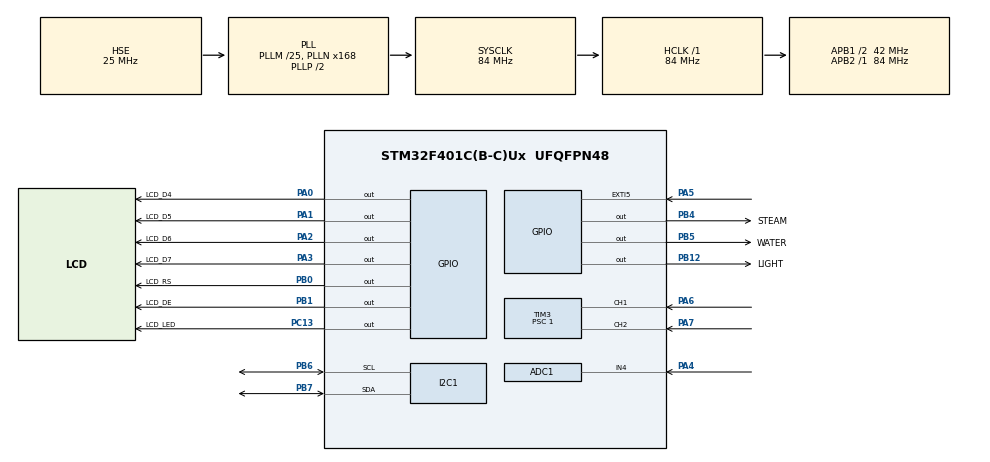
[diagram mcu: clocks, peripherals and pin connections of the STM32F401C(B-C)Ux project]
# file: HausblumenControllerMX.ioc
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ADC1.Channel-0\#ChannelRegularConversion=ADC_CHANNEL_4
ADC1.NbrOfConversionFlag=1
ADC1.Rank-0\#ChannelRegularConversion=1
ADC1.SamplingTime-0\#ChannelRegularConversion=ADC_SAMPLETIME_3CYCLES
ADC1.master=1
Mcu.Family=STM32F4
Mcu.Name=STM32F401C(B-C)Ux
Mcu.Package=UFQFPN48
NVIC.EXTI9_5_IRQn=true\:0\:0\:false\:false\:false\:true\:true
NVIC.PriorityGroup=NVIC_PRIORITYGROUP_4
PA0-WKUP.GPIO_Label=LCD_D4
PA0-WKUP.Signal=GPIO_Output
PA1.GPIO_Label=LCD_D5
PA1.Signal=GPIO_Output
PA13.Mode=Serial_Wire
PA13.Signal=SYS_JTMS-SWDIO
PA14.Mode=Serial_Wire
PA14.Signal=SYS_JTCK-SWCLK
PA2.GPIO_Label=LCD_D6
PA2.Signal=GPIO_Output
PA3.GPIO_Label=LCD_D7
PA3.Signal=GPIO_Output
PA4.Signal=ADCx_IN4
PA5.Signal=GPXTI5
PA6.Signal=S_TIM3_CH1
PA7.Signal=S_TIM3_CH2
PB0.GPIO_Label=LCD_RS
PB0.Signal=GPIO_Output
PB1.GPIO_Label=LCD_DE
PB1.Signal=GPIO_Output
PB12.GPIO_Label=LIGHT
PB12.Signal=GPIO_Output
PB3.Signal=SYS_JTDO-SWO
PB4.GPIO_Label=STEAM
PB4.Signal=GPIO_Output
PB5.GPIO_Label=WATER
PB5.Signal=GPIO_Output
PB6.Mode=I2C
PB6.Signal=I2C1_SCL
PB7.Mode=I2C
PB7.Signal=I2C1_SDA
PC13-ANTI_TAMP.GPIO_Label=LCD_LED
PC13-ANTI_TAMP.Signal=GPIO_Output
PC14-OSC32_IN.Mode=LSE-External-Oscillator
PC14-OSC32_IN.Signal=RCC_OSC32_IN
PC15-OSC32_OUT.Mode=LSE-External-Oscillator
PC15-OSC32_OUT.Signal=RCC_OSC32_OUT
PH0\ -\ OSC_IN.Mode=HSE-External-Oscillator
PH0\ -\ OSC_IN.Signal=RCC_OSC_IN
PH1\ -\ OSC_OUT.Mode=HSE-External-Oscillator
PH1\ -\ OSC_OUT.Signal=RCC_OSC_OUT
ProjectManager.HeapSize=0x200
ProjectManager.StackSize=0x400
ProjectManager.TargetToolchain=Makefile
RCC.48MHZClocksFreq_Value=42000000
RCC.AHBFreq_Value=84000000
RCC.APB1CLKDivider=RCC_HCLK_DIV2
RCC.APB1Freq_Value=42000000
RCC.APB1TimFreq_Value=84000000
RCC.APB2Freq_Value=84000000
RCC.APB2TimFreq_Value=84000000
RCC.CortexFreq_Value=84000000
RCC.HCLKFreq_Value=84000000
RCC.HSE_VALUE=25000000
RCC.HSI_VALUE=16000000
RCC.PLLM=25
RCC.PLLN=168
RCC.PLLSourceVirtual=RCC_PLLSOURCE_HSE
RCC.RCC_RTC_Clock_Source=RCC_RTCCLKSOURCE_LSE
RCC.RCC_RTC_Clock_SourceVirtual=RCC_RTCCLKSOURCE_LSE
RCC.SYSCLKFreq_VALUE=84000000
RCC.SYSCLKSource=RCC_SYSCLKSOURCE_PLLCLK
RCC.VCOOutputFreq_Value=168000000
RTC.Date=15
RTC.Month=RTC_MONTH_OCTOBER
RTC.WeekDay=RTC_WEEKDAY_WEDNESDAY
SH.ADCx_IN4.0=ADC1_IN4,IN4
SH.S_TIM3_CH1.0=TIM3_CH1,Encoder_Interface
SH.S_TIM3_CH2.0=TIM3_CH2,Encoder_Interface
TIM3.ClockDivision=TIM_CLOCKDIVISION_DIV4
TIM3.EncoderMode=TIM_ENCODERMODE_TI12
TIM3.IC1Filter=15
TIM3.IC1Polarity=TIM_ICPOLARITY_FALLING
TIM3.IC2Filter=15
TIM3.IC2Polarity=TIM_ICPOLARITY_FALLING
TIM3.Period=256
TIM3.Prescaler=1
TIM3.TIM_MasterOutputTrigger=TIM_TRGO_ENABLE
VP_RTC_VS_RTC_Activate.Mode=RTC_Enabled
VP_RTC_VS_RTC_Calendar.Mode=RTC_Calendar
board=custom

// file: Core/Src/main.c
/* USER CODE BEGIN Header */
/**
  ******************************************************************************
  * @file           : main.c
  * @brief          : Main program body
  ******************************************************************************
  * @attention
  *
  * <h2><center>&copy; Copyright (c) 2025 STMicroelectronics.
  * All rights reserved.</center></h2>
  *
  * This software component is licensed by ST under BSD 3-Clause license,
  * the "License"; You may not use this file except in compliance with the
  * License. You may obtain a copy of the License at:
  *                        opensource.org/licenses/BSD-3-Clause
  *
  ******************************************************************************
  */

  //Naming
  /*
  first string WS1602 - position menu
  second string WS1602 - values

  menu - show data/values
  subMenu - settings in menu, set values
  */

/* USER CODE END Header */
#include "main.h"

/* USER CODE BEGIN Includes */
#include <stdlib.h>
#include <string.h>
#include "display_menu.h"
/* USER CODE END Includes */

/* USER CODE BEGIN PD */
#define LCD_DE_TIME 1

#define LCD_LED_TIME 5000
#define SUB_MENU_TIMEOUT 10000

#define MENU_PERIOD 500
//#define BUTTON_PERIOD 100
/* USER CODE END PD */

ADC_HandleTypeDef hadc1;

I2C_HandleTypeDef hi2c1;

RTC_HandleTypeDef hrtc;

TIM_HandleTypeDef htim3;

/* USER CODE BEGIN PV */
//Timers
uint32_t timerLCDLED = 0;
uint32_t timerMenu = 0;
uint32_t timerSubMenu = 0;

//Menu
displayMenu_t positionMenu = 0;
subMenu_t positionSubMenu = SUB_MENU_OUT;
uint16_t flagUpdateSubMenu = 0;
//uint16_t
/* USER CODE END PV */

void SystemClock_Config(void);
static void MX_GPIO_Init(void);
static void MX_RTC_Init(void);
static void MX_TIM3_Init(void);
static void MX_ADC1_Init(void);
static void MX_I2C1_Init(void);
/* USER CODE BEGIN PFP */
void SendByteLCD(char ByteToSend, int IsData);
void LCD_Init(void);
void Clear_LCD(void);
void SetCursorLCD(uint8_t row, uint8_t col);
void SendStringLCD(char* stringLCD);
void PreferencesSave(void);
/* USER CODE END PFP */

int main(void)
{

  /* MCU Configuration--------------------------------------------------------*/

  /* Reset of all peripherals, Initializes the Flash interface and the Systick. */
  HAL_Init();

  /* Configure the system clock */
  SystemClock_Config();

  /* Initialize all configured peripherals */
  MX_GPIO_Init();
  MX_RTC_Init();
  MX_TIM3_Init();
  MX_ADC1_Init();
  MX_I2C1_Init();
  /* USER CODE BEGIN 2 */
  HAL_TIM_Encoder_Start(&htim3, TIM_CHANNEL_ALL);
  LCD_Init();
  Clear_LCD();
  //LedOn display
  GPIOC->BSRR |= LCD_LED_Pin;
  timerLCDLED = HAL_GetTick();
  SetCursorLCD(0, 5);
  SendStringLCD("Hallo");

  //TODO: Preferences load
  //TODO: BME280_Init()
  //TODO: get DataTime

  /* USER CODE END 2 */

  /* Infinite loop */
  /* USER CODE BEGIN WHILE */
    //Encoder value reset
    TIM3->CNT = 100;

  while (1)
  {
    //TODO: use HAL_GetTick() for ADC
    //TODO: get ADC value
    //TODO: on/off LIGHT_Pin

    //TODO: use HAL_GetTick() for Humidity and Termo
    //TODO: get value BME280
    //TODO: on/off STEAM_Pin
    //TODO: on/off WATER_Pin
    //test Mosfet 5V and 12V
    /*
    GPIOB->BSRR |= LIGHT_Pin;
    HAL_Delay(3000);
    GPIOB->BSRR |= (LIGHT_Pin<<16);
    HAL_Delay(3000);
    */

    /* USER CODE END WHILE */

    /* USER CODE BEGIN 3 */
    //LCD_LED off
    if((GPIOC->ODR & LCD_LED_Pin)&&(HAL_GetTick() - timerLCDLED > LCD_LED_TIME)){
      GPIOC->BSRR |= (LCD_LED_Pin<<16);
      //Clear_LCD();
    }
    //Menu
    if(HAL_GetTick() - timerMenu > MENU_PERIOD){
      //encoder Handler
      if(TIM3->CNT != 100){
        //uint8_t newPosition = TIM3->CNT;
        uint8_t encoderValue = TIM3->CNT;
        TIM3->CNT = 100;

        if(encoderValue>100){
          encoderValue = (encoderValue-100);
          encoderValue = encoderValue >> 1;
          if(positionSubMenu == SUB_MENU_OUT){
            positionMenu += encoderValue;
            positionMenu = positionMenu>MENU_MAX_POSITION?MENU_MIN_POSITION:positionMenu;
          }//else{
            //TODO: pointer other value
          //}
        }else{
          encoderValue = (100 - encoderValue);
          encoderValue = encoderValue >> 1;
          if(positionSubMenu == SUB_MENU_OUT){
            if(encoderValue>positionMenu){
              positionMenu = MENU_MAX_POSITION;
            }else{
              positionMenu -= encoderValue;
            }
          }//else{
            //TODO: pointer other value
          //}
        }

        //Update new position display WH1602
        if(positionSubMenu == SUB_MENU_OUT){
          Clear_LCD();
          SetCursorLCD(0, 0);
          SendStringLCD(punct_s[positionMenu]);
        }else{
          timerSubMenu = HAL_GetTick();
        }
        //flag update value
        flagUpdateSubMenu|=(1<<positionMenu);
        //LedOn display
        GPIOC->BSRR |= LCD_LED_Pin;
        timerLCDLED = HAL_GetTick();
      }//end encoder Handler

      //Update new value display WH1602
      if(flagUpdateSubMenu&(1<<positionMenu)){
        SetCursorLCD(1, 0);
        SendStringLCD("                ");
        SetCursorLCD(1, 0);
        char valueStr[16];
        memset(&valueStr[0], 0, 16);
        //TODO: start transform int to string
        itoa(positionMenu, valueStr, 10);
        SendStringLCD(valueStr);
        //
        flagUpdateSubMenu &= ~(1<<positionMenu);
        //show cursor
        if(positionSubMenu > SUB_MENU_OUT){
          SendByteLCD(0b00001111, 0);
          uint8_t cursorMarker = 0;
          if(positionSubMenu < SUB_MENU_LVL1){
            cursorMarker = (positionSubMenu - 1)*3;

          }
          SetCursorLCD(1, cursorMarker);
          //TEST positionSubMenu
          itoa(positionSubMenu, valueStr, 10);
          SendStringLCD(valueStr);
        }else{
          SendByteLCD(0b00001100, 0);
        }//end show cursor
      }//end Update value display
      timerMenu = HAL_GetTick();
    }//end Menu

    //LCD_LED off timeout
    if((GPIOC->ODR & LCD_LED_Pin)&&(HAL_GetTick() - timerLCDLED > LCD_LED_TIME)){
      GPIOC->BSRR |= (LCD_LED_Pin<<16);
    }

    //subMenu timeout
    if(positionSubMenu > SUB_MENU_OUT){
      if(HAL_GetTick() - timerSubMenu > SUB_MENU_TIMEOUT){
        positionSubMenu = SUB_MENU_OUT;
        flagUpdateSubMenu|=(1<<positionMenu);
      }else{
        timerLCDLED = HAL_GetTick();
      }
    }

  }//end while()
  /* USER CODE END 3 */
}

void SystemClock_Config(void)
{
  RCC_OscInitTypeDef RCC_OscInitStruct = {0};
  RCC_ClkInitTypeDef RCC_ClkInitStruct = {0};
  RCC_PeriphCLKInitTypeDef PeriphClkInitStruct = {0};

  /** Configure the main internal regulator output voltage
  */
  __HAL_RCC_PWR_CLK_ENABLE();
  __HAL_PWR_VOLTAGESCALING_CONFIG(PWR_REGULATOR_VOLTAGE_SCALE2);
  /** Initializes the RCC Oscillators according to the specified parameters
  * in the RCC_OscInitTypeDef structure.
  */
  RCC_OscInitStruct.OscillatorType = RCC_OSCILLATORTYPE_HSE|RCC_OSCILLATORTYPE_LSE;
  RCC_OscInitStruct.HSEState = RCC_HSE_ON;
  RCC_OscInitStruct.LSEState = RCC_LSE_ON;
  RCC_OscInitStruct.PLL.PLLState = RCC_PLL_ON;
  RCC_OscInitStruct.PLL.PLLSource = RCC_PLLSOURCE_HSE;
  RCC_OscInitStruct.PLL.PLLM = 25;
  RCC_OscInitStruct.PLL.PLLN = 168;
  RCC_OscInitStruct.PLL.PLLP = RCC_PLLP_DIV2;
  RCC_OscInitStruct.PLL.PLLQ = 4;
  if (HAL_RCC_OscConfig(&RCC_OscInitStruct) != HAL_OK)
  {
    Error_Handler();
  }
  /** Initializes the CPU, AHB and APB buses clocks
  */
  RCC_ClkInitStruct.ClockType = RCC_CLOCKTYPE_HCLK|RCC_CLOCKTYPE_SYSCLK
                              |RCC_CLOCKTYPE_PCLK1|RCC_CLOCKTYPE_PCLK2;
  RCC_ClkInitStruct.SYSCLKSource = RCC_SYSCLKSOURCE_PLLCLK;
  RCC_ClkInitStruct.AHBCLKDivider = RCC_SYSCLK_DIV1;
  RCC_ClkInitStruct.APB1CLKDivider = RCC_HCLK_DIV2;
  RCC_ClkInitStruct.APB2CLKDivider = RCC_HCLK_DIV1;

  if (HAL_RCC_ClockConfig(&RCC_ClkInitStruct, FLASH_LATENCY_2) != HAL_OK)
  {
    Error_Handler();
  }
  PeriphClkInitStruct.PeriphClockSelection = RCC_PERIPHCLK_RTC;
  PeriphClkInitStruct.RTCClockSelection = RCC_RTCCLKSOURCE_LSE;
  if (HAL_RCCEx_PeriphCLKConfig(&PeriphClkInitStruct) != HAL_OK)
  {
    Error_Handler();
  }
}

static void MX_ADC1_Init(void)
{

  ADC_ChannelConfTypeDef sConfig = {0};

  /** Configure the global features of the ADC (Clock, Resolution, Data Alignment and number of conversion)
  */
  hadc1.Instance = ADC1;
  hadc1.Init.ClockPrescaler = ADC_CLOCK_SYNC_PCLK_DIV4;
  hadc1.Init.Resolution = ADC_RESOLUTION_12B;
  hadc1.Init.ScanConvMode = DISABLE;
  hadc1.Init.ContinuousConvMode = DISABLE;
  hadc1.Init.DiscontinuousConvMode = DISABLE;
  hadc1.Init.ExternalTrigConvEdge = ADC_EXTERNALTRIGCONVEDGE_NONE;
  hadc1.Init.ExternalTrigConv = ADC_SOFTWARE_START;
  hadc1.Init.DataAlign = ADC_DATAALIGN_RIGHT;
  hadc1.Init.NbrOfConversion = 1;
  hadc1.Init.DMAContinuousRequests = DISABLE;
  hadc1.Init.EOCSelection = ADC_EOC_SINGLE_CONV;
  if (HAL_ADC_Init(&hadc1) != HAL_OK)
  {
    Error_Handler();
  }
  /** Configure for the selected ADC regular channel its corresponding rank in the sequencer and its sample time.
  */
  sConfig.Channel = ADC_CHANNEL_4;
  sConfig.Rank = 1;
  sConfig.SamplingTime = ADC_SAMPLETIME_3CYCLES;
  if (HAL_ADC_ConfigChannel(&hadc1, &sConfig) != HAL_OK)
  {
    Error_Handler();
  }

}

static void MX_I2C1_Init(void)
{

  hi2c1.Instance = I2C1;
  hi2c1.Init.ClockSpeed = 100000;
  hi2c1.Init.DutyCycle = I2C_DUTYCYCLE_2;
  hi2c1.Init.OwnAddress1 = 0;
  hi2c1.Init.AddressingMode = I2C_ADDRESSINGMODE_7BIT;
  hi2c1.Init.DualAddressMode = I2C_DUALADDRESS_DISABLE;
  hi2c1.Init.OwnAddress2 = 0;
  hi2c1.Init.GeneralCallMode = I2C_GENERALCALL_DISABLE;
  hi2c1.Init.NoStretchMode = I2C_NOSTRETCH_DISABLE;
  if (HAL_I2C_Init(&hi2c1) != HAL_OK)
  {
    Error_Handler();
  }

}

static void MX_RTC_Init(void)
{

  RTC_TimeTypeDef sTime = {0};
  RTC_DateTypeDef sDate = {0};

  /** Initialize RTC Only
  */
  hrtc.Instance = RTC;
  hrtc.Init.HourFormat = RTC_HOURFORMAT_24;
  hrtc.Init.AsynchPrediv = 127;
  hrtc.Init.SynchPrediv = 255;
  hrtc.Init.OutPut = RTC_OUTPUT_DISABLE;
  hrtc.Init.OutPutPolarity = RTC_OUTPUT_POLARITY_HIGH;
  hrtc.Init.OutPutType = RTC_OUTPUT_TYPE_OPENDRAIN;
  if (HAL_RTC_Init(&hrtc) != HAL_OK)
  {
    Error_Handler();
  }

  /** Initialize RTC and set the Time and Date
  */
  sTime.Hours = 0x0;
  sTime.Minutes = 0x0;
  sTime.Seconds = 0x0;
  sTime.DayLightSaving = RTC_DAYLIGHTSAVING_NONE;
  sTime.StoreOperation = RTC_STOREOPERATION_RESET;
  if (HAL_RTC_SetTime(&hrtc, &sTime, RTC_FORMAT_BCD) != HAL_OK)
  {
    Error_Handler();
  }
  sDate.WeekDay = RTC_WEEKDAY_WEDNESDAY;
  sDate.Month = RTC_MONTH_OCTOBER;
  sDate.Date = 0x15;
  sDate.Year = 0x0;

  if (HAL_RTC_SetDate(&hrtc, &sDate, RTC_FORMAT_BCD) != HAL_OK)
  {
    Error_Handler();
  }

}

static void MX_TIM3_Init(void)
{

  TIM_Encoder_InitTypeDef sConfig = {0};
  TIM_MasterConfigTypeDef sMasterConfig = {0};

  htim3.Instance = TIM3;
  htim3.Init.Prescaler = 1;
  htim3.Init.CounterMode = TIM_COUNTERMODE_UP;
  htim3.Init.Period = 256;
  htim3.Init.ClockDivision = TIM_CLOCKDIVISION_DIV4;
  htim3.Init.AutoReloadPreload = TIM_AUTORELOAD_PRELOAD_DISABLE;
  sConfig.EncoderMode = TIM_ENCODERMODE_TI12;
  sConfig.IC1Polarity = TIM_ICPOLARITY_FALLING;
  sConfig.IC1Selection = TIM_ICSELECTION_DIRECTTI;
  sConfig.IC1Prescaler = TIM_ICPSC_DIV1;
  sConfig.IC1Filter = 15;
  sConfig.IC2Polarity = TIM_ICPOLARITY_FALLING;
  sConfig.IC2Selection = TIM_ICSELECTION_DIRECTTI;
  sConfig.IC2Prescaler = TIM_ICPSC_DIV1;
  sConfig.IC2Filter = 15;
  if (HAL_TIM_Encoder_Init(&htim3, &sConfig) != HAL_OK)
  {
    Error_Handler();
  }
  sMasterConfig.MasterOutputTrigger = TIM_TRGO_ENABLE;
  sMasterConfig.MasterSlaveMode = TIM_MASTERSLAVEMODE_DISABLE;
  if (HAL_TIMEx_MasterConfigSynchronization(&htim3, &sMasterConfig) != HAL_OK)
  {
    Error_Handler();
  }
  /* USER CODE BEGIN TIM3_Init 2 */
  GPIO_InitTypeDef GPIO_InitStruct = {0};
  __HAL_RCC_TIM3_CLK_ENABLE();
  __HAL_RCC_GPIOA_CLK_ENABLE();
  GPIO_InitStruct.Pin = GPIO_PIN_6 |GPIO_PIN_7;
  GPIO_InitStruct.Mode = GPIO_MODE_AF_PP;
  GPIO_InitStruct.Pull = GPIO_NOPULL;
  GPIO_InitStruct.Speed = GPIO_SPEED_FREQ_HIGH;
  GPIO_InitStruct.Alternate = GPIO_AF2_TIM3;

  HAL_GPIO_Init(GPIOA, &GPIO_InitStruct);
  /* USER CODE END TIM3_Init 2 */

}

static void MX_GPIO_Init(void)
{
  GPIO_InitTypeDef GPIO_InitStruct = {0};

  /* GPIO Ports Clock Enable */
  __HAL_RCC_GPIOC_CLK_ENABLE();
  __HAL_RCC_GPIOH_CLK_ENABLE();
  __HAL_RCC_GPIOA_CLK_ENABLE();
  __HAL_RCC_GPIOB_CLK_ENABLE();

  /*Configure GPIO pin Output Level */
  HAL_GPIO_WritePin(LCD_LED_GPIO_Port, LCD_LED_Pin, GPIO_PIN_RESET);

  /*Configure GPIO pin Output Level */
  HAL_GPIO_WritePin(GPIOA, LCD_D4_Pin|LCD_D5_Pin|LCD_D6_Pin|LCD_D7_Pin, GPIO_PIN_RESET);

  /*Configure GPIO pin Output Level */
  HAL_GPIO_WritePin(GPIOB, LCD_RS_Pin|LCD_DE_Pin|LIGHT_Pin|STEAM_Pin
                          |WATER_Pin, GPIO_PIN_RESET);

  /*Configure GPIO pin : LCD_LED_Pin */
  GPIO_InitStruct.Pin = LCD_LED_Pin;
  GPIO_InitStruct.Mode = GPIO_MODE_OUTPUT_PP;
  GPIO_InitStruct.Pull = GPIO_NOPULL;
  GPIO_InitStruct.Speed = GPIO_SPEED_FREQ_LOW;
  HAL_GPIO_Init(LCD_LED_GPIO_Port, &GPIO_InitStruct);

  /*Configure GPIO pins : LCD_D4_Pin LCD_D5_Pin LCD_D6_Pin LCD_D7_Pin */
  GPIO_InitStruct.Pin = LCD_D4_Pin|LCD_D5_Pin|LCD_D6_Pin|LCD_D7_Pin;
  GPIO_InitStruct.Mode = GPIO_MODE_OUTPUT_PP;
  GPIO_InitStruct.Pull = GPIO_NOPULL;
  GPIO_InitStruct.Speed = GPIO_SPEED_FREQ_LOW;
  HAL_GPIO_Init(GPIOA, &GPIO_InitStruct);

  /*Configure GPIO pin : PA5 */
  GPIO_InitStruct.Pin = GPIO_PIN_5;
  GPIO_InitStruct.Mode = GPIO_MODE_IT_RISING;
  GPIO_InitStruct.Pull = GPIO_NOPULL;
  HAL_GPIO_Init(GPIOA, &GPIO_InitStruct);

  /*Configure GPIO pins : LCD_RS_Pin LCD_DE_Pin LIGHT_Pin STEAM_Pin
                           WATER_Pin */
  GPIO_InitStruct.Pin = LCD_RS_Pin|LCD_DE_Pin|LIGHT_Pin|STEAM_Pin
                          |WATER_Pin;
  GPIO_InitStruct.Mode = GPIO_MODE_OUTPUT_PP;
  GPIO_InitStruct.Pull = GPIO_NOPULL;
  GPIO_InitStruct.Speed = GPIO_SPEED_FREQ_LOW;
  HAL_GPIO_Init(GPIOB, &GPIO_InitStruct);

  /* EXTI interrupt init*/
  HAL_NVIC_SetPriority(EXTI9_5_IRQn, 0, 0);
  HAL_NVIC_EnableIRQ(EXTI9_5_IRQn);

}

/* USER CODE BEGIN 4 */
void PreferencesSave(void){
  //TODO: function void PreferencesSave();

}
//Display functions: sendByte
void SendByteLCD(char ByteToSend, int IsData){
  GPIOA->BSRR |= (0x0F<<16);
  GPIOA->ODR |= ((ByteToSend>>4)&0x0F);
  if(IsData == 1){
    GPIOB->BSRR |= LCD_RS_Pin;
  }else{
    GPIOB->BSRR |= (LCD_RS_Pin<<16);
  }
  GPIOB->BSRR |= LCD_DE_Pin;
  HAL_Delay(LCD_DE_TIME);
  GPIOB->BSRR |= (LCD_DE_Pin<<16);
  HAL_Delay(LCD_DE_TIME);
  GPIOA->BSRR |= (0x0F<<16);
  GPIOA->ODR |= (ByteToSend&0x0F);

  if(IsData == 1){
    GPIOB->BSRR |= LCD_RS_Pin;
  }else{
    GPIOB->BSRR |= (LCD_RS_Pin<<16);
  }
  GPIOB->BSRR |= LCD_DE_Pin;
  HAL_Delay(LCD_DE_TIME);
  GPIOB->BSRR |= (LCD_DE_Pin<<16);
  HAL_Delay(LCD_DE_TIME);
}
//Display functions: LCD_Init
void LCD_Init(void){
  GPIOA->BSRR |= (0x0F<<16);
  GPIOA->ODR |= 0x02;
  GPIOB->BSRR |= (LCD_DE_Pin<<16);
  HAL_Delay(LCD_DE_TIME);
  GPIOB->BSRR |= LCD_DE_Pin;
  HAL_Delay(LCD_DE_TIME);
  GPIOB->BSRR |= (LCD_DE_Pin<<16);
  HAL_Delay(LCD_DE_TIME);
  SendByteLCD(0x28, 0);
  SendByteLCD(0x0E, 0);
  SendByteLCD(0x06, 0);
  SendByteLCD(0b00001100, 0);
}
//Display functions: Clear
void Clear_LCD(void){
  SendByteLCD(0x01, 0);
  SendByteLCD(0x02, 0);
}
//Display functions: SetCursor
void SetCursorLCD(uint8_t row, uint8_t col){
  uint8_t address = 0x80;
  if (row != 0) address |= 0x40;
  address |= col;
  SendByteLCD(address, 0);
}
//Display functions: sendString
void SendStringLCD(char* stringLCD){
  char *c;
  c = stringLCD;
  while ((c != 0) && (*c != 0)){
    SendByteLCD(*c++, 1);
  }
}
//Interrupt Button
void EXTI9_5_IRQHandler(void){
  //TEST Interrupt
  GPIOC->BSRR |= LCD_LED_Pin;
  timerLCDLED = HAL_GetTick();
  if(positionSubMenu == SUB_MENU_OUT){
    switch(positionMenu){
      case(MENU_LIGHT_TIME):
        positionSubMenu = SUB_MENU_LVL1;
        break;
      case(MENU_LIGHT):
        positionSubMenu = SUB_MENU_LVL1;
        break;
      case(MENU_HUMIDITY):
        positionSubMenu = SUB_MENU_LVL1;
        break;
      case(MENU_DATETIME):
        positionSubMenu = SUB_MENU_DATETIME_DAY;
        break;
      case(MENU_WATER_TIME):
        positionSubMenu = SUB_MENU_LVL1;
        break;
      case(MENU_WATER_PERIOD):
        positionSubMenu = SUB_MENU_LVL1;
        break;
      case(MENU_LIGHT_OUT):
                HAL_GPIO_TogglePin(LIGHT_GPIO_Port, LIGHT_Pin);
        break;
      case(MENU_STEAM_OUT):
        HAL_GPIO_TogglePin(STEAM_GPIO_Port, STEAM_Pin);
        break;
      case(MENU_WATER_OUT):
        HAL_GPIO_TogglePin(WATER_GPIO_Port, WATER_Pin);
        break;
    }
    timerSubMenu = HAL_GetTick();
  }else{
    if(positionSubMenu < SUB_MENU_DATETIME_MINUTE){
      positionSubMenu++;
      timerSubMenu = HAL_GetTick();
    }else{
      //TODO: save(positionSubMenu);
      positionSubMenu = SUB_MENU_OUT;
    }
  }
  //Update information an display
  flagUpdateSubMenu |= (1<<positionMenu);
  EXTI->PR |= EXTI_PR_PR5;
}
/* USER CODE END 4 */

void Error_Handler(void)
{
  __disable_irq();
  while (1)
  {
  }
}

/************************ (C) COPYRIGHT STMicroelectronics *****END OF FILE****/
